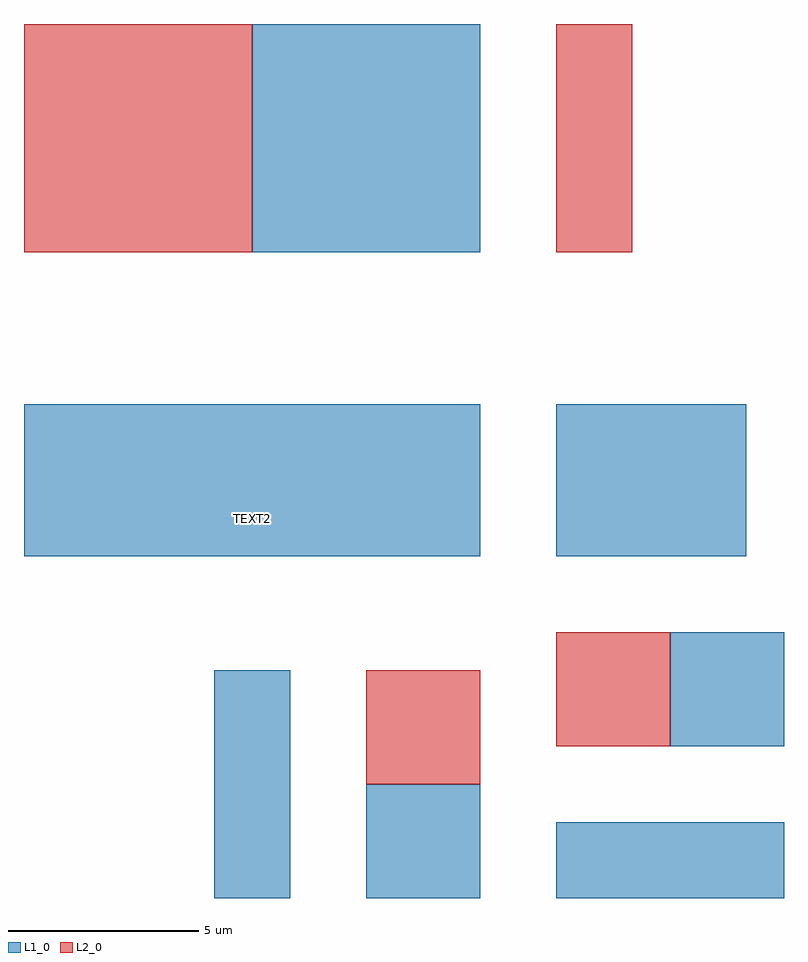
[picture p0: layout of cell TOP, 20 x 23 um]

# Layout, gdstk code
from math import pi, radians
import gdstk
lib = gdstk.Library(unit=1e-6, precision=1e-09)
def R(c, l, rs):  # rectangles x0, y0, x1, y1
    for r in rs: c.add(gdstk.rectangle(r[:2], r[2:], *l))
L1_0 = (1, 0)
L2_0 = (2, 0)

c_a = lib.new_cell('A')
R(c_a, L1_0, [(0,0,2,6), (4,0,7,3)])
R(c_a, L2_0, [(4,3,7,6)])
c_a.add(gdstk.Label('TEXT1', (1,3), layer=3, texttype=0))

top = lib.new_cell('TOP')
R(top, L1_0, [(1,10,6,14)])
R(top, L2_0, [(1,18,3,24)])
r = gdstk.Reference(c_a, (-8,1)); r.repetition = gdstk.Repetition(1, 1, v1=(0,0), v2=(0,0)); top.add(r)
r = gdstk.Reference(c_a, (7,1), rotation=pi/2); r.repetition = gdstk.Repetition(1, 1, v1=(0,0), v2=(0,0)); top.add(r)
r = gdstk.Reference(c_a, (-1,10), rotation=pi/2, magnification=2); r.repetition = gdstk.Repetition(1, 1, v1=(0,0), v2=(0,0)); top.add(r)
top.add(gdstk.Label('TEXT2', (-7,11), layer=3, texttype=0))

lib.write_gds('TOP.gds')
